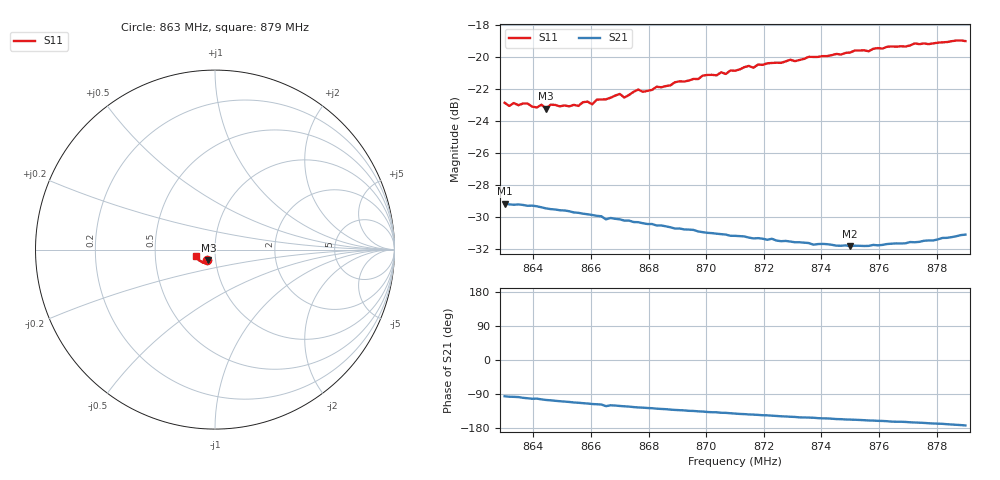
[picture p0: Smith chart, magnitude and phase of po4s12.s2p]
# HZ S RI R 50
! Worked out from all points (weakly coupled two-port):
!   101 points, 863 MHz to 879 MHz, reference 50 ohm
!   highest |S21| = -29.14 dB at 863 MHz (marker M1); lowest = -31.8 dB at 875 MHz (marker M2)
!   lowest |S11| = -23.2 dB at 864.44 MHz (marker M3), VSWR 1.15, Z = 46.1 - j5.4 ohm
!   |S11| at or under -10 dB: start of sweep to end of sweep
!   S12 and S22 are empty: the file has one direction only
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8.63e8  -0.0418 -0.0588  -0.00345 -0.0348  0 0  0 0
8.6316e8  -0.0388 -0.0589  -0.00418 -0.0345  0 0  0 0
8.638e8  -0.0416 -0.0584  -0.00653 -0.0337  0 0  0 0
8.6412e8  -0.0372 -0.0589  -0.00708 -0.0335  0 0  0 0
8.6428e8  -0.0375 -0.0604  -0.00816 -0.033  0 0  0 0
8.6444e8  -0.0373 -0.0583  -0.009 -0.0325  0 0  0 0
8.646e8  -0.0388 -0.0596  -0.00949 -0.0322  0 0  0 0
8.6556e8  -0.0359 -0.0607  -0.0127 -0.0301  0 0  0 0
8.6572e8  -0.0365 -0.0625  -0.0132 -0.0297  0 0  0 0
8.6604e8  -0.0355 -0.0619  -0.0142 -0.0289  0 0  0 0
8.662e8  -0.0373 -0.0636  -0.0144 -0.0285  0 0  0 0
8.67e8  -0.0383 -0.0666  -0.0162 -0.0266  0 0  0 0
8.6716e8  -0.0366 -0.0653  -0.0165 -0.0261  0 0  0 0
8.6764e8  -0.0402 -0.0684  -0.0176 -0.0249  0 0  0 0
8.678e8  -0.0395 -0.0673  -0.0177 -0.0246  0 0  0 0
8.6844e8  -0.041 -0.0694  -0.0189 -0.0231  0 0  0 0
8.71e8  -0.055 -0.0723  -0.0216 -0.0173  0 0  0 0
8.7148e8  -0.0583 -0.0738  -0.022 -0.0162  0 0  0 0
8.7372e8  -0.0723 -0.0695  -0.023 -0.012  0 0  0 0
8.75e8  -0.0813 -0.0641  -0.0237 -0.00992  0 0  0 0
8.7644e8  -0.0921 -0.0568  -0.025 -0.00783  0 0  0 0
8.79e8  -0.1067 -0.0354  -0.0277 -0.00356  0 0  0 0
